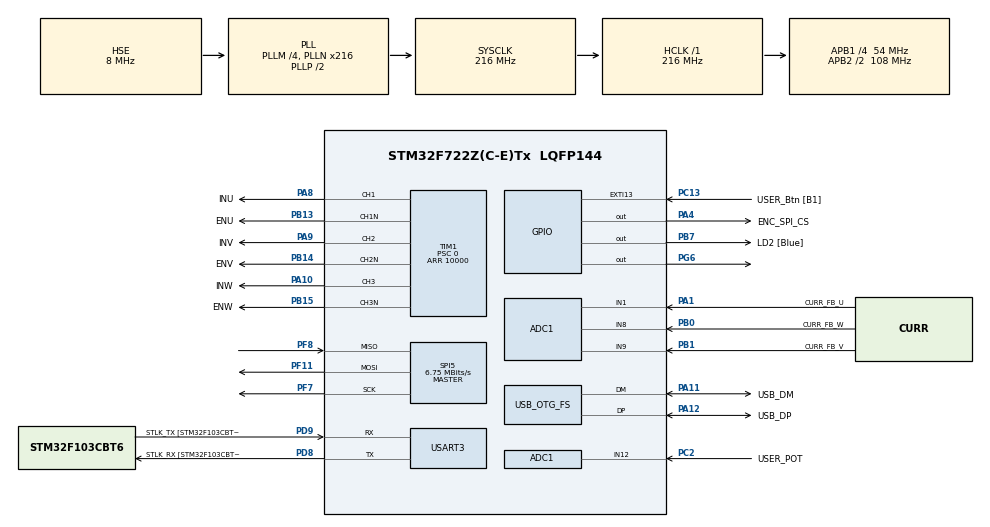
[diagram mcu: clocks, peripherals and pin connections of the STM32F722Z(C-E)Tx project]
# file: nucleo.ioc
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ADC1.Channel-0\#ChannelRegularConversion=ADC_CHANNEL_1
ADC1.Channel-1\#ChannelRegularConversion=ADC_CHANNEL_9
ADC1.Channel-2\#ChannelRegularConversion=ADC_CHANNEL_8
ADC1.Channel-3\#ChannelRegularConversion=ADC_CHANNEL_12
ADC1.ContinuousConvMode=DISABLE
ADC1.DMAContinuousRequests=ENABLE
ADC1.EOCSelection=ADC_EOC_SEQ_CONV
ADC1.ExternalTrigConv=ADC_EXTERNALTRIGCONV_T1_TRGO
ADC1.InjNumberOfConversion=0
ADC1.NbrOfConversion=4
ADC1.NbrOfConversionFlag=1
ADC1.Rank-0\#ChannelRegularConversion=1
ADC1.Rank-1\#ChannelRegularConversion=2
ADC1.Rank-2\#ChannelRegularConversion=3
ADC1.Rank-3\#ChannelRegularConversion=4
ADC1.SamplingTime-0\#ChannelRegularConversion=ADC_SAMPLETIME_56CYCLES
ADC1.SamplingTime-1\#ChannelRegularConversion=ADC_SAMPLETIME_56CYCLES
ADC1.SamplingTime-2\#ChannelRegularConversion=ADC_SAMPLETIME_56CYCLES
ADC1.SamplingTime-3\#ChannelRegularConversion=ADC_SAMPLETIME_56CYCLES
ADC1.master=1
Dma.ADC1.0.Direction=DMA_PERIPH_TO_MEMORY
Dma.ADC1.0.FIFOMode=DMA_FIFOMODE_DISABLE
Dma.ADC1.0.Instance=DMA2_Stream0
Dma.ADC1.0.MemDataAlignment=DMA_MDATAALIGN_HALFWORD
Dma.ADC1.0.MemInc=DMA_MINC_ENABLE
Dma.ADC1.0.Mode=DMA_CIRCULAR
Dma.ADC1.0.PeriphDataAlignment=DMA_PDATAALIGN_HALFWORD
Dma.ADC1.0.PeriphInc=DMA_PINC_DISABLE
Dma.ADC1.0.Priority=DMA_PRIORITY_HIGH
Dma.Request0=ADC1
Mcu.Family=STM32F7
Mcu.Name=STM32F722Z(C-E)Tx
Mcu.Package=LQFP144
NVIC.DMA2_Stream0_IRQn=true\:0\:0\:false\:false\:true\:false\:true\:true
NVIC.PriorityGroup=NVIC_PRIORITYGROUP_4
NVIC.TIM1_UP_TIM10_IRQn=true\:0\:0\:false\:false\:true\:true\:true\:true
PA1.GPIO_Label=CURR_FB_U
PA1.Signal=ADCx_IN1
PA10.GPIO_Label=INW
PA10.Signal=S_TIM1_CH3
PA11.GPIO_Label=USB_DM
PA11.Mode=Device_Only
PA11.Signal=USB_OTG_FS_DM
PA12.GPIO_Label=USB_DP
PA12.Mode=Device_Only
PA12.Signal=USB_OTG_FS_DP
PA13.GPIO_Label=TMS
PA13.Mode=Serial_Wire
PA13.Signal=SYS_JTMS-SWDIO
PA14.GPIO_Label=TCK
PA14.Mode=Serial_Wire
PA14.Signal=SYS_JTCK-SWCLK
PA4.GPIO_Label=ENC_SPI_CS
PA4.GPIO_Speed=GPIO_SPEED_FREQ_HIGH
PA4.Signal=GPIO_Output
PA8.GPIO_Label=INU
PA8.Signal=S_TIM1_CH1
PA9.GPIO_Label=INV
PA9.Signal=S_TIM1_CH2
PB0.GPIO_Label=CURR_FB_W
PB0.Signal=ADCx_IN8
PB1.GPIO_Label=CURR_FB_V
PB1.Signal=ADCx_IN9
PB13.GPIO_Label=ENU
PB13.Mode=PWM Generation1 CH1 CH1N
PB13.Signal=TIM1_CH1N
PB14.GPIO_Label=ENV
PB14.Mode=PWM Generation2 CH2 CH2N
PB14.Signal=TIM1_CH2N
PB15.GPIO_Label=ENW
PB15.Mode=PWM Generation3 CH3 CH3N
PB15.Signal=TIM1_CH3N
PB3.GPIO_Label=SWO
PB3.Signal=SYS_JTDO-SWO
PB7.GPIO_Label=LD2 [Blue]
PB7.Signal=GPIO_Output
PC13.GPIO_Label=USER_Btn [B1]
PC13.Signal=GPXTI13
PC14-OSC32_IN.Mode=LSE-External-Oscillator
PC14-OSC32_IN.Signal=RCC_OSC32_IN
PC15-OSC32_OUT.Mode=LSE-External-Oscillator
PC15-OSC32_OUT.Signal=RCC_OSC32_OUT
PC2.GPIO_Label=USER_POT
PC2.Signal=ADCx_IN12
PD8.GPIO_Label=STLK_RX [STM32F103CBT6_PA3]
PD8.Mode=Asynchronous
PD8.Signal=USART3_TX
PD9.GPIO_Label=STLK_TX [STM32F103CBT6_PA2]
PD9.Mode=Asynchronous
PD9.Signal=USART3_RX
PF11.Mode=Full_Duplex_Master
PF11.Signal=SPI5_MOSI
PF7.Mode=Full_Duplex_Master
PF7.Signal=SPI5_SCK
PF8.Mode=Full_Duplex_Master
PF8.Signal=SPI5_MISO
PG6.Signal=GPIO_Output
PH0-OSC_IN.GPIO_Label=MCO
PH0-OSC_IN.Mode=HSE-External-Clock-Source
PH0-OSC_IN.Signal=RCC_OSC_IN
PH1-OSC_OUT.Mode=HSE-External-Clock-Source
PH1-OSC_OUT.Signal=RCC_OSC_OUT
ProjectManager.HeapSize=0x800
ProjectManager.StackSize=0x800
ProjectManager.TargetToolchain=STM32CubeIDE
RCC.48MHZClocksFreq_Value=24000000
RCC.AHBFreq_Value=216000000
RCC.APB1CLKDivider=RCC_HCLK_DIV4
RCC.APB1Freq_Value=54000000
RCC.APB1TimFreq_Value=108000000
RCC.APB2CLKDivider=RCC_HCLK_DIV2
RCC.APB2Freq_Value=108000000
RCC.APB2TimFreq_Value=216000000
RCC.CortexFreq_Value=216000000
RCC.HCLKFreq_Value=216000000
RCC.HSE_VALUE=8000000
RCC.HSI_VALUE=16000000
RCC.PLLM=4
RCC.PLLMUL=RCC_PLL_MUL9
RCC.PLLN=216
RCC.PLLQ=9
RCC.PRESCALERUSB=RCC_USBCLKSOURCE_PLL_DIV1_5
RCC.SYSCLKFreq_VALUE=216000000
RCC.SYSCLKSource=RCC_SYSCLKSOURCE_PLLCLK
RCC.SYSCLKSourceVirtual=RCC_SYSCLKSOURCE_PLLCLK
RCC.USBFreq_Value=48000000
RCC.VCOOutputFreq_Value=432000000
SH.ADCx_IN1.0=ADC1_IN1,IN1
SH.ADCx_IN12.0=ADC2_IN12
SH.ADCx_IN12.1=ADC1_IN12,IN12
SH.ADCx_IN8.0=ADC1_IN8,IN8
SH.ADCx_IN9.0=ADC1_IN9,IN9
SH.S_TIM1_CH1.0=TIM1_CH1,PWM Generation1 CH1 CH1N
SH.S_TIM1_CH2.0=TIM1_CH2,PWM Generation2 CH2 CH2N
SH.S_TIM1_CH3.0=TIM1_CH3,PWM Generation3 CH3 CH3N
SPI5.BaudRatePrescaler=SPI_BAUDRATEPRESCALER_16
SPI5.CLKPhase=SPI_PHASE_2EDGE
SPI5.CalculateBaudRate=6.75 MBits/s
SPI5.DataSize=SPI_DATASIZE_8BIT
SPI5.Direction=SPI_DIRECTION_2LINES
SPI5.Mode=SPI_MODE_MASTER
SPI5.VirtualType=VM_MASTER
TIM1.AutoReloadPreload=TIM_AUTORELOAD_PRELOAD_ENABLE
TIM1.BreakState=TIM_BREAK_DISABLE
TIM1.Channel-PWM\ Generation1\ CH1\ CH1N=TIM_CHANNEL_1
TIM1.Channel-PWM\ Generation2\ CH2\ CH2N=TIM_CHANNEL_2
TIM1.Channel-PWM\ Generation3\ CH3\ CH3N=TIM_CHANNEL_3
TIM1.DeadTime=75
TIM1.OCMode_PWM-PWM\ Generation1\ CH1\ CH1N=TIM_OCMODE_PWM2
TIM1.OCMode_PWM-PWM\ Generation2\ CH2\ CH2N=TIM_OCMODE_PWM2
TIM1.OCMode_PWM-PWM\ Generation3\ CH3\ CH3N=TIM_OCMODE_PWM2
TIM1.OCNPolarity_1=TIM_OCNPOLARITY_HIGH
TIM1.OCNPolarity_2=TIM_OCNPOLARITY_HIGH
TIM1.OCNPolarity_3=TIM_OCNPOLARITY_HIGH
TIM1.OCPolarity_1=TIM_OCPOLARITY_HIGH
TIM1.OCPolarity_2=TIM_OCPOLARITY_HIGH
TIM1.OCPolarity_3=TIM_OCPOLARITY_HIGH
TIM1.OffStateIDLEMode=TIM_OSSI_DISABLE
TIM1.Period=10000
TIM1.Prescaler=0
TIM1.TIM_MasterOutputTrigger=TIM_TRGO_UPDATE
TIM1.TIM_MasterSlaveMode=TIM_MASTERSLAVEMODE_DISABLE
TIM2.Period=150
TIM2.TIM_MasterOutputTrigger=TIM_TRGO_UPDATE
TIM2.TIM_MasterSlaveMode=TIM_MASTERSLAVEMODE_DISABLE
TIM4.AutoReloadPreload=TIM_AUTORELOAD_PRELOAD_ENABLE
TIM4.Channel-Output\ Compare4\ No\ Output=TIM_CHANNEL_4
TIM4.Prescaler=21600
TIM4.TIM_MasterOutputTrigger=TIM_TRGO_UPDATE
USART3.VirtualMode-Asynchronous=VM_ASYNC
USB_OTG_FS.VirtualMode=Device_Only
VP_TIM1_VS_ClockSourceINT.Mode=Internal
VP_TIM2_VS_ClockSourceINT.Mode=Internal
VP_TIM2_VS_ClockSourceITR.Mode=TriggerSource_ITR0
VP_TIM2_VS_ControllerModeTrigger.Mode=Trigger Mode
VP_TIM2_VS_OPM.Mode=OPM_bit
VP_TIM4_VS_ClockSourceINT.Mode=Internal
VP_TIM4_VS_no_output4.Mode=Output Compare4 No Output
board=NUCLEO-F722ZE

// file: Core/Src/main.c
/* USER CODE BEGIN Header */
/**
  ******************************************************************************
  * @file           : main.c
  * @brief          : Main program body
  ******************************************************************************
  * @attention
  *
  * <h2><center>&copy; Copyright (c) 2020 STMicroelectronics.
  * All rights reserved.</center></h2>
  *
  * This software component is licensed by ST under BSD 3-Clause license,
  * the "License"; You may not use this file except in compliance with the
  * License. You may obtain a copy of the License at:
  *                        opensource.org/licenses/BSD-3-Clause
  *
  ******************************************************************************
  */
/* USER CODE END Header */
#include "main.h"

ADC_HandleTypeDef hadc1;
DMA_HandleTypeDef hdma_adc1;

SPI_HandleTypeDef hspi5;

TIM_HandleTypeDef htim1;
TIM_HandleTypeDef htim2;
TIM_HandleTypeDef htim4;

UART_HandleTypeDef huart3;

PCD_HandleTypeDef hpcd_USB_OTG_FS;

/* USER CODE BEGIN PV */
UART_HandleTypeDef * dbprint_uart; // debug print UART (STLink virtual COM port)
SPI_HandleTypeDef * encoder_hspi; // SPI connection to encoder (AS5048A)
volatile uint16_t curr_sense_adc_buf[ADC_BUF_LEN] = {0}; // buffer for ADC DMA reading
TIM_HandleTypeDef *  half_bridge_pwm_timer;

/* USER CODE END PV */

void SystemClock_Config(void);
static void MX_GPIO_Init(void);
static void MX_DMA_Init(void);
static void MX_USART3_UART_Init(void);
static void MX_USB_OTG_FS_PCD_Init(void);
static void MX_SPI5_Init(void);
static void MX_ADC1_Init(void);
static void MX_TIM4_Init(void);
static void MX_TIM1_Init(void);
static void MX_TIM2_Init(void);

/* USER CODE BEGIN 0 */
/**
  * @brief  The application entry point.
  * @retval int
  */
int main(void)
{
	dbprint_uart = &huart3;
	encoder_hspi = &hspi5;
	half_bridge_pwm_timer = &htim1;

  /* MCU Configuration--------------------------------------------------------*/

  /* Reset of all peripherals, Initializes the Flash interface and the Systick. */
  HAL_Init();

  /* Configure the system clock */
  SystemClock_Config();

  /* Initialize all configured peripherals */
  MX_GPIO_Init();
  MX_DMA_Init();
  MX_USART3_UART_Init();
  MX_USB_OTG_FS_PCD_Init();
  MX_SPI5_Init();
  MX_ADC1_Init();
  MX_TIM4_Init();
  MX_TIM1_Init();
  MX_TIM2_Init();

  /* USER CODE BEGIN 2 */
  HAL_GPIO_WritePin(ENC_SPI_CS_GPIO_Port, ENC_SPI_CS_Pin, GPIO_PIN_SET); // start with CS deselected

  // Begin ADC sampling + transfer over DMA
  if (HAL_ADC_Start_DMA(&hadc1, (uint32_t *)curr_sense_adc_buf, ADC_BUF_LEN) != HAL_OK) {
  	  Error_Handler();
  }

  main_run();

  while (1)
  {

  }
  return 0;
}
/* USER CODE END 0 */

void SystemClock_Config(void)
{
  RCC_OscInitTypeDef RCC_OscInitStruct = {0};
  RCC_ClkInitTypeDef RCC_ClkInitStruct = {0};

  /** Configure LSE Drive Capability
  */
  HAL_PWR_EnableBkUpAccess();

  /** Configure the main internal regulator output voltage
  */
  __HAL_RCC_PWR_CLK_ENABLE();
  __HAL_PWR_VOLTAGESCALING_CONFIG(PWR_REGULATOR_VOLTAGE_SCALE1);

  /** Initializes the RCC Oscillators according to the specified parameters
  * in the RCC_OscInitTypeDef structure.
  */
  RCC_OscInitStruct.OscillatorType = RCC_OSCILLATORTYPE_HSE;
  RCC_OscInitStruct.HSEState = RCC_HSE_BYPASS;
  RCC_OscInitStruct.PLL.PLLState = RCC_PLL_ON;
  RCC_OscInitStruct.PLL.PLLSource = RCC_PLLSOURCE_HSE;
  RCC_OscInitStruct.PLL.PLLM = 4;
  RCC_OscInitStruct.PLL.PLLN = 216;
  RCC_OscInitStruct.PLL.PLLP = RCC_PLLP_DIV2;
  RCC_OscInitStruct.PLL.PLLQ = 9;
  if (HAL_RCC_OscConfig(&RCC_OscInitStruct) != HAL_OK)
  {
    Error_Handler();
  }

  /** Activate the Over-Drive mode
  */
  if (HAL_PWREx_EnableOverDrive() != HAL_OK)
  {
    Error_Handler();
  }

  /** Initializes the CPU, AHB and APB buses clocks
  */
  RCC_ClkInitStruct.ClockType = RCC_CLOCKTYPE_HCLK|RCC_CLOCKTYPE_SYSCLK
                              |RCC_CLOCKTYPE_PCLK1|RCC_CLOCKTYPE_PCLK2;
  RCC_ClkInitStruct.SYSCLKSource = RCC_SYSCLKSOURCE_PLLCLK;
  RCC_ClkInitStruct.AHBCLKDivider = RCC_SYSCLK_DIV1;
  RCC_ClkInitStruct.APB1CLKDivider = RCC_HCLK_DIV4;
  RCC_ClkInitStruct.APB2CLKDivider = RCC_HCLK_DIV2;

  if (HAL_RCC_ClockConfig(&RCC_ClkInitStruct, FLASH_LATENCY_7) != HAL_OK)
  {
    Error_Handler();
  }
}

static void MX_ADC1_Init(void)
{

  ADC_ChannelConfTypeDef sConfig = {0};

  /** Configure the global features of the ADC (Clock, Resolution, Data Alignment and number of conversion)
  */
  hadc1.Instance = ADC1;
  hadc1.Init.ClockPrescaler = ADC_CLOCK_SYNC_PCLK_DIV4;
  hadc1.Init.Resolution = ADC_RESOLUTION_12B;
  hadc1.Init.ScanConvMode = ADC_SCAN_ENABLE;
  hadc1.Init.ContinuousConvMode = DISABLE;
  hadc1.Init.DiscontinuousConvMode = DISABLE;
  hadc1.Init.ExternalTrigConvEdge = ADC_EXTERNALTRIGCONVEDGE_RISING;
  hadc1.Init.ExternalTrigConv = ADC_EXTERNALTRIGCONV_T1_TRGO;
  hadc1.Init.DataAlign = ADC_DATAALIGN_RIGHT;
  hadc1.Init.NbrOfConversion = 4;
  hadc1.Init.DMAContinuousRequests = ENABLE;
  hadc1.Init.EOCSelection = ADC_EOC_SEQ_CONV;
  if (HAL_ADC_Init(&hadc1) != HAL_OK)
  {
    Error_Handler();
  }

  /** Configure for the selected ADC regular channel its corresponding rank in the sequencer and its sample time.
  */
  sConfig.Channel = ADC_CHANNEL_1;
  sConfig.Rank = ADC_REGULAR_RANK_1;
  sConfig.SamplingTime = ADC_SAMPLETIME_56CYCLES;
  if (HAL_ADC_ConfigChannel(&hadc1, &sConfig) != HAL_OK)
  {
    Error_Handler();
  }

  /** Configure for the selected ADC regular channel its corresponding rank in the sequencer and its sample time.
  */
  sConfig.Channel = ADC_CHANNEL_9;
  sConfig.Rank = ADC_REGULAR_RANK_2;
  if (HAL_ADC_ConfigChannel(&hadc1, &sConfig) != HAL_OK)
  {
    Error_Handler();
  }

  /** Configure for the selected ADC regular channel its corresponding rank in the sequencer and its sample time.
  */
  sConfig.Channel = ADC_CHANNEL_8;
  sConfig.Rank = ADC_REGULAR_RANK_3;
  if (HAL_ADC_ConfigChannel(&hadc1, &sConfig) != HAL_OK)
  {
    Error_Handler();
  }

  /** Configure for the selected ADC regular channel its corresponding rank in the sequencer and its sample time.
  */
  sConfig.Channel = ADC_CHANNEL_12;
  sConfig.Rank = ADC_REGULAR_RANK_4;
  if (HAL_ADC_ConfigChannel(&hadc1, &sConfig) != HAL_OK)
  {
    Error_Handler();
  }

}

static void MX_SPI5_Init(void)
{

  /* SPI5 parameter configuration*/
  hspi5.Instance = SPI5;
  hspi5.Init.Mode = SPI_MODE_MASTER;
  hspi5.Init.Direction = SPI_DIRECTION_2LINES;
  hspi5.Init.DataSize = SPI_DATASIZE_8BIT;
  hspi5.Init.CLKPolarity = SPI_POLARITY_LOW;
  hspi5.Init.CLKPhase = SPI_PHASE_2EDGE;
  hspi5.Init.NSS = SPI_NSS_SOFT;
  hspi5.Init.BaudRatePrescaler = SPI_BAUDRATEPRESCALER_16;
  hspi5.Init.FirstBit = SPI_FIRSTBIT_MSB;
  hspi5.Init.TIMode = SPI_TIMODE_DISABLE;
  hspi5.Init.CRCCalculation = SPI_CRCCALCULATION_DISABLE;
  hspi5.Init.CRCPolynomial = 7;
  hspi5.Init.CRCLength = SPI_CRC_LENGTH_DATASIZE;
  hspi5.Init.NSSPMode = SPI_NSS_PULSE_DISABLE;
  if (HAL_SPI_Init(&hspi5) != HAL_OK)
  {
    Error_Handler();
  }

}

static void MX_TIM1_Init(void)
{

  TIM_ClockConfigTypeDef sClockSourceConfig = {0};
  TIM_MasterConfigTypeDef sMasterConfig = {0};
  TIM_OC_InitTypeDef sConfigOC = {0};
  TIM_BreakDeadTimeConfigTypeDef sBreakDeadTimeConfig = {0};

  htim1.Instance = TIM1;
  htim1.Init.Prescaler = 0;
  htim1.Init.CounterMode = TIM_COUNTERMODE_UP;
  htim1.Init.Period = 10000;
  htim1.Init.ClockDivision = TIM_CLOCKDIVISION_DIV1;
  htim1.Init.RepetitionCounter = 0;
  htim1.Init.AutoReloadPreload = TIM_AUTORELOAD_PRELOAD_ENABLE;
  if (HAL_TIM_Base_Init(&htim1) != HAL_OK)
  {
    Error_Handler();
  }
  sClockSourceConfig.ClockSource = TIM_CLOCKSOURCE_INTERNAL;
  if (HAL_TIM_ConfigClockSource(&htim1, &sClockSourceConfig) != HAL_OK)
  {
    Error_Handler();
  }
  if (HAL_TIM_PWM_Init(&htim1) != HAL_OK)
  {
    Error_Handler();
  }
  sMasterConfig.MasterOutputTrigger = TIM_TRGO_UPDATE;
  sMasterConfig.MasterOutputTrigger2 = TIM_TRGO2_RESET;
  sMasterConfig.MasterSlaveMode = TIM_MASTERSLAVEMODE_DISABLE;
  if (HAL_TIMEx_MasterConfigSynchronization(&htim1, &sMasterConfig) != HAL_OK)
  {
    Error_Handler();
  }
  sConfigOC.OCMode = TIM_OCMODE_PWM2;
  sConfigOC.Pulse = 0;
  sConfigOC.OCPolarity = TIM_OCPOLARITY_HIGH;
  sConfigOC.OCNPolarity = TIM_OCNPOLARITY_HIGH;
  sConfigOC.OCFastMode = TIM_OCFAST_DISABLE;
  sConfigOC.OCIdleState = TIM_OCIDLESTATE_RESET;
  sConfigOC.OCNIdleState = TIM_OCNIDLESTATE_RESET;
  if (HAL_TIM_PWM_ConfigChannel(&htim1, &sConfigOC, TIM_CHANNEL_1) != HAL_OK)
  {
    Error_Handler();
  }
  if (HAL_TIM_PWM_ConfigChannel(&htim1, &sConfigOC, TIM_CHANNEL_2) != HAL_OK)
  {
    Error_Handler();
  }
  if (HAL_TIM_PWM_ConfigChannel(&htim1, &sConfigOC, TIM_CHANNEL_3) != HAL_OK)
  {
    Error_Handler();
  }
  sBreakDeadTimeConfig.OffStateRunMode = TIM_OSSR_DISABLE;
  sBreakDeadTimeConfig.OffStateIDLEMode = TIM_OSSI_DISABLE;
  sBreakDeadTimeConfig.LockLevel = TIM_LOCKLEVEL_OFF;
  sBreakDeadTimeConfig.DeadTime = 75;
  sBreakDeadTimeConfig.BreakState = TIM_BREAK_DISABLE;
  sBreakDeadTimeConfig.BreakPolarity = TIM_BREAKPOLARITY_HIGH;
  sBreakDeadTimeConfig.BreakFilter = 0;
  sBreakDeadTimeConfig.Break2State = TIM_BREAK2_DISABLE;
  sBreakDeadTimeConfig.Break2Polarity = TIM_BREAK2POLARITY_HIGH;
  sBreakDeadTimeConfig.Break2Filter = 0;
  sBreakDeadTimeConfig.AutomaticOutput = TIM_AUTOMATICOUTPUT_DISABLE;
  if (HAL_TIMEx_ConfigBreakDeadTime(&htim1, &sBreakDeadTimeConfig) != HAL_OK)
  {
    Error_Handler();
  }
  HAL_TIM_MspPostInit(&htim1);

}

static void MX_TIM2_Init(void)
{

  TIM_ClockConfigTypeDef sClockSourceConfig = {0};
  TIM_SlaveConfigTypeDef sSlaveConfig = {0};
  TIM_MasterConfigTypeDef sMasterConfig = {0};

  htim2.Instance = TIM2;
  htim2.Init.Prescaler = 0;
  htim2.Init.CounterMode = TIM_COUNTERMODE_UP;
  htim2.Init.Period = 150;
  htim2.Init.ClockDivision = TIM_CLOCKDIVISION_DIV1;
  htim2.Init.AutoReloadPreload = TIM_AUTORELOAD_PRELOAD_DISABLE;
  if (HAL_TIM_Base_Init(&htim2) != HAL_OK)
  {
    Error_Handler();
  }
  sClockSourceConfig.ClockSource = TIM_CLOCKSOURCE_INTERNAL;
  if (HAL_TIM_ConfigClockSource(&htim2, &sClockSourceConfig) != HAL_OK)
  {
    Error_Handler();
  }
  if (HAL_TIM_OnePulse_Init(&htim2, TIM_OPMODE_SINGLE) != HAL_OK)
  {
    Error_Handler();
  }
  sSlaveConfig.SlaveMode = TIM_SLAVEMODE_TRIGGER;
  sSlaveConfig.InputTrigger = TIM_TS_ITR0;
  if (HAL_TIM_SlaveConfigSynchro(&htim2, &sSlaveConfig) != HAL_OK)
  {
    Error_Handler();
  }
  sMasterConfig.MasterOutputTrigger = TIM_TRGO_UPDATE;
  sMasterConfig.MasterSlaveMode = TIM_MASTERSLAVEMODE_DISABLE;
  if (HAL_TIMEx_MasterConfigSynchronization(&htim2, &sMasterConfig) != HAL_OK)
  {
    Error_Handler();
  }

}

static void MX_TIM4_Init(void)
{

  TIM_ClockConfigTypeDef sClockSourceConfig = {0};
  TIM_MasterConfigTypeDef sMasterConfig = {0};
  TIM_OC_InitTypeDef sConfigOC = {0};

  htim4.Instance = TIM4;
  htim4.Init.Prescaler = 21600;
  htim4.Init.CounterMode = TIM_COUNTERMODE_UP;
  htim4.Init.Period = 65535;
  htim4.Init.ClockDivision = TIM_CLOCKDIVISION_DIV1;
  htim4.Init.AutoReloadPreload = TIM_AUTORELOAD_PRELOAD_ENABLE;
  if (HAL_TIM_Base_Init(&htim4) != HAL_OK)
  {
    Error_Handler();
  }
  sClockSourceConfig.ClockSource = TIM_CLOCKSOURCE_INTERNAL;
  if (HAL_TIM_ConfigClockSource(&htim4, &sClockSourceConfig) != HAL_OK)
  {
    Error_Handler();
  }
  if (HAL_TIM_OC_Init(&htim4) != HAL_OK)
  {
    Error_Handler();
  }
  sMasterConfig.MasterOutputTrigger = TIM_TRGO_UPDATE;
  sMasterConfig.MasterSlaveMode = TIM_MASTERSLAVEMODE_DISABLE;
  if (HAL_TIMEx_MasterConfigSynchronization(&htim4, &sMasterConfig) != HAL_OK)
  {
    Error_Handler();
  }
  sConfigOC.OCMode = TIM_OCMODE_TIMING;
  sConfigOC.Pulse = 0;
  sConfigOC.OCPolarity = TIM_OCPOLARITY_HIGH;
  sConfigOC.OCFastMode = TIM_OCFAST_DISABLE;
  if (HAL_TIM_OC_ConfigChannel(&htim4, &sConfigOC, TIM_CHANNEL_4) != HAL_OK)
  {
    Error_Handler();
  }

}

static void MX_USART3_UART_Init(void)
{

  huart3.Instance = USART3;
  huart3.Init.BaudRate = 115200;
  huart3.Init.WordLength = UART_WORDLENGTH_8B;
  huart3.Init.StopBits = UART_STOPBITS_1;
  huart3.Init.Parity = UART_PARITY_NONE;
  huart3.Init.Mode = UART_MODE_TX_RX;
  huart3.Init.HwFlowCtl = UART_HWCONTROL_NONE;
  huart3.Init.OverSampling = UART_OVERSAMPLING_16;
  huart3.Init.OneBitSampling = UART_ONE_BIT_SAMPLE_DISABLE;
  huart3.AdvancedInit.AdvFeatureInit = UART_ADVFEATURE_NO_INIT;
  if (HAL_UART_Init(&huart3) != HAL_OK)
  {
    Error_Handler();
  }

}

static void MX_USB_OTG_FS_PCD_Init(void)
{

  hpcd_USB_OTG_FS.Instance = USB_OTG_FS;
  hpcd_USB_OTG_FS.Init.dev_endpoints = 6;
  hpcd_USB_OTG_FS.Init.dma_enable = DISABLE;
  hpcd_USB_OTG_FS.Init.phy_itface = PCD_PHY_EMBEDDED;
  hpcd_USB_OTG_FS.Init.Sof_enable = DISABLE;
  hpcd_USB_OTG_FS.Init.low_power_enable = DISABLE;
  hpcd_USB_OTG_FS.Init.lpm_enable = DISABLE;
  hpcd_USB_OTG_FS.Init.battery_charging_enable = DISABLE;
  hpcd_USB_OTG_FS.Init.vbus_sensing_enable = DISABLE;
  hpcd_USB_OTG_FS.Init.use_dedicated_ep1 = DISABLE;
  if (HAL_PCD_Init(&hpcd_USB_OTG_FS) != HAL_OK)
  {
    Error_Handler();
  }

}

static void MX_DMA_Init(void)
{

  /* DMA controller clock enable */
  __HAL_RCC_DMA2_CLK_ENABLE();

  /* DMA interrupt init */
  /* DMA2_Stream0_IRQn interrupt configuration */
  HAL_NVIC_SetPriority(DMA2_Stream0_IRQn, 0, 0);
  HAL_NVIC_EnableIRQ(DMA2_Stream0_IRQn);

}

static void MX_GPIO_Init(void)
{
  GPIO_InitTypeDef GPIO_InitStruct = {0};

  /* GPIO Ports Clock Enable */
  __HAL_RCC_GPIOC_CLK_ENABLE();
  __HAL_RCC_GPIOF_CLK_ENABLE();
  __HAL_RCC_GPIOH_CLK_ENABLE();
  __HAL_RCC_GPIOA_CLK_ENABLE();
  __HAL_RCC_GPIOB_CLK_ENABLE();
  __HAL_RCC_GPIOD_CLK_ENABLE();
  __HAL_RCC_GPIOG_CLK_ENABLE();

  /*Configure GPIO pin Output Level */
  HAL_GPIO_WritePin(ENC_SPI_CS_GPIO_Port, ENC_SPI_CS_Pin, GPIO_PIN_RESET);

  /*Configure GPIO pin Output Level */
  HAL_GPIO_WritePin(GPIOG, GPIO_PIN_6, GPIO_PIN_RESET);

  /*Configure GPIO pin Output Level */
  HAL_GPIO_WritePin(LD2_GPIO_Port, LD2_Pin, GPIO_PIN_RESET);

  /*Configure GPIO pin : USER_Btn_Pin */
  GPIO_InitStruct.Pin = USER_Btn_Pin;
  GPIO_InitStruct.Mode = GPIO_MODE_IT_RISING;
  GPIO_InitStruct.Pull = GPIO_NOPULL;
  HAL_GPIO_Init(USER_Btn_GPIO_Port, &GPIO_InitStruct);

  /*Configure GPIO pin : USER_POT_Pin */
  GPIO_InitStruct.Pin = USER_POT_Pin;
  GPIO_InitStruct.Mode = GPIO_MODE_ANALOG;
  GPIO_InitStruct.Pull = GPIO_NOPULL;
  HAL_GPIO_Init(USER_POT_GPIO_Port, &GPIO_InitStruct);

  /*Configure GPIO pin : ENC_SPI_CS_Pin */
  GPIO_InitStruct.Pin = ENC_SPI_CS_Pin;
  GPIO_InitStruct.Mode = GPIO_MODE_OUTPUT_PP;
  GPIO_InitStruct.Pull = GPIO_NOPULL;
  GPIO_InitStruct.Speed = GPIO_SPEED_FREQ_HIGH;
  HAL_GPIO_Init(ENC_SPI_CS_GPIO_Port, &GPIO_InitStruct);

  /*Configure GPIO pin : PG6 */
  GPIO_InitStruct.Pin = GPIO_PIN_6;
  GPIO_InitStruct.Mode = GPIO_MODE_OUTPUT_PP;
  GPIO_InitStruct.Pull = GPIO_NOPULL;
  GPIO_InitStruct.Speed = GPIO_SPEED_FREQ_LOW;
  HAL_GPIO_Init(GPIOG, &GPIO_InitStruct);

  /*Configure GPIO pin : LD2_Pin */
  GPIO_InitStruct.Pin = LD2_Pin;
  GPIO_InitStruct.Mode = GPIO_MODE_OUTPUT_PP;
  GPIO_InitStruct.Pull = GPIO_NOPULL;
  GPIO_InitStruct.Speed = GPIO_SPEED_FREQ_LOW;
  HAL_GPIO_Init(LD2_GPIO_Port, &GPIO_InitStruct);

}

/* USER CODE BEGIN 4 */

/**
  * @brief  Retargets the C library printf function to the USART.
  * @param  None
  * @retval None
  */
PUTCHAR_PROTOTYPE
{
  /* Place your implementation of fputc here */
  /* e.g. write a character to the EVAL_COM1 and Loop until the end of transmission */
  HAL_UART_Transmit(dbprint_uart, (uint8_t *)&ch, 1, 0xFFFF);

  return ch;
}

//void HAL_ADC_ConvCpltCallback(ADC_HandleTypeDef* hadc){
//  /* This is called after the conversion is completed */
////  printf("hay\r\n");
//	ADCConvCpltCallback();
//}

void HAL_TIM_PeriodElapsedCallback(TIM_HandleTypeDef *htim) {
	if (htim == &htim1) {
		ADCConvCpltCallback(); // probably wanna leave a few cycles here to let the DMA do its work!
	}
}

/* USER CODE END 4 */

void Error_Handler(void)
{
  __disable_irq();
  while (1)
  {
  }
}
